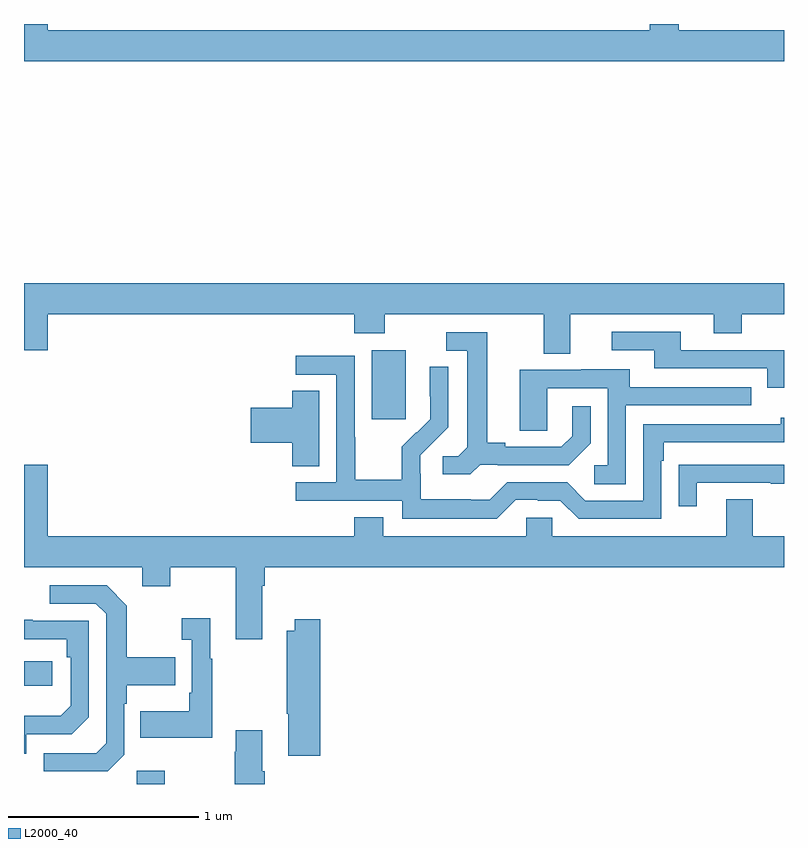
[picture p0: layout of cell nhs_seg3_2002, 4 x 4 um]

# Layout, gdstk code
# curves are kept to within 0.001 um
import gdstk
lib = gdstk.Library(unit=1e-6, precision=1e-09)
def R(c, l, rs):  # rectangles x0, y0, x1, y1
    for r in rs: c.add(gdstk.rectangle(r[:2], r[2:], *l))
def P(c, l, *ps):  # polygons
    for p in ps: c.add(gdstk.Polygon(p, *l))
L2000_40 = (2000, 40)

nhs_seg3_2002 = lib.new_cell('nhs_seg3_2002')
R(nhs_seg3_2002, L2000_40, [(213.594,742.4,213.741,742.471), (213,742.916,213.148,743.046), (214.829,744.321,215.008,744.682)])
P(nhs_seg3_2002, L2000_40, [(217,746.368),(216.445,746.368),(216.445,746.4),(216.293,746.4),(216.293,746.368),(213.124,746.368),(213.124,746.4),(213,746.4),(213,746.204),(217,746.204)],
  [(215.875,744.872),(216.629,744.872),(216.629,744.773),(216.777,744.773),(216.777,744.872),(217,744.872),(217,745.036),(213,745.036),(213,744.684),(213.124,744.684),(213.124,744.872),(214.739,744.872),(214.739,744.773),(214.899,744.773),(214.899,744.872),(215.735,744.872),(215.735,744.664),(215.875,744.664)],
  [(217,744.684),(216.457,744.684),(216.457,744.78),(216.093,744.78),(216.093,744.684),(216.317,744.684),(216.317,744.588),(216.912,744.588),(216.912,744.485),(217,744.485)],
  [(215.4,744.081),(215.494,744.081),(215.494,744.078),(215.866,744.078),(215.982,744.194),(215.982,744.388),(215.885,744.388),(215.885,744.231),(215.828,744.174),(215.533,744.174),(215.533,744.197),(215.437,744.197),(215.437,744.777),(215.223,744.777),(215.223,744.681),(215.333,744.681),(215.333,744.173),(215.286,744.126),(215.205,744.126),(215.205,744.029),(215.348,744.029)],
  [(215.589,743.895),(215.705,743.895),(215.705,743.892),(215.823,743.892),(215.919,743.796),(216.354,743.796),(216.354,744.101),(216.367,744.101),(216.367,744.198),(217,744.198),(217,744.328),(216.983,744.328),(216.983,744.294),(216.258,744.294),(216.258,743.892),(215.955,743.892),(215.859,743.988),(215.544,743.988),(215.451,743.895),(215.351,743.895),(215.351,743.899),(215.088,743.899),(215.088,744.033),(215.086,744.033),(215.086,744.13),(215.232,744.278),(215.232,744.596),(215.136,744.596),(215.136,744.442),(215.138,744.442),(215.138,744.32),(215.067,744.249),(215.064,744.252),(214.987,744.175),(214.987,744.001),(214.743,744.001),(214.743,744.224),(214.74,744.224),(214.74,744.654),(214.431,744.654),(214.431,744.555),(214.644,744.555),(214.644,743.988),(214.431,743.988),(214.431,743.892),(214.992,743.892),(214.992,743.795),(215.489,743.795)],
  [(216.168,744.393),(216.827,744.393),(216.827,744.489),(216.187,744.489),(216.187,744.583),(215.933,744.583),(215.933,744.579),(215.609,744.579),(215.609,744.259),(215.754,744.259),(215.754,744.483),(216.072,744.483),(216.072,744.078),(216,744.078),(216,743.977),(216.168,743.977)],
  [(214.555,744.47),(214.412,744.47),(214.412,744.38),(214.194,744.38),(214.194,744.197),(214.412,744.197),(214.412,744.073),(214.555,744.073)],
  [(216.541,743.985),(216.931,743.985),(216.931,743.98),(217,743.98),(217,744.081),(216.547,744.081),(216.547,744.08),(216.445,744.08),(216.445,743.862),(216.541,743.862)],
  [(214.255,743.444),(214.268,743.444),(214.268,743.54),(217,743.54),(217,743.704),(216.835,743.704),(216.835,743.899),(216.695,743.899),(216.695,743.704),(215.781,743.704),(215.781,743.802),(215.643,743.802),(215.643,743.704),(214.891,743.704),(214.891,743.803),(214.739,743.803),(214.739,743.704),(213.124,743.704),(213.124,744.079),(213,744.079),(213,743.54),(213.623,743.54),(213.623,743.441),(213.771,743.441),(213.771,743.54),(214.115,743.54),(214.115,743.163),(214.255,743.163)],
  [(213.528,742.554),(213.528,742.823),(213.541,742.823),(213.541,742.919),(213.797,742.919),(213.797,743.067),(213.541,743.067),(213.541,743.339),(213.435,743.445),(213.135,743.445),(213.135,743.349),(213.378,743.349),(213.432,743.295),(213.432,742.614),(213.381,742.563),(213.105,742.563),(213.105,742.467),(213.441,742.467)],
  [(213.991,743.059),(213.979,743.059),(213.979,743.272),(213.831,743.272),(213.831,743.159),(213.882,743.159),(213.882,742.879),(213.87,742.879),(213.87,742.783),(213.613,742.783),(213.613,742.643),(213.991,742.643)],
  [(214.559,743.266),(214.424,743.266),(214.424,743.206),(214.384,743.206),(214.384,742.771),(214.391,742.771),(214.391,742.548),(214.559,742.548)],
  [(213.012,742.662),(213.252,742.662),(213.342,742.752),(213.342,743.259),(213.047,743.259),(213.047,743.264),(213,743.264),(213,743.163),(213.226,743.163),(213.226,743.066),(213.246,743.066),(213.246,742.812),(213.193,742.759),(213,742.759),(213,742.56),(213.012,742.56)],
  [(214.268,742.468),(214.255,742.468),(214.255,742.684),(214.115,742.684),(214.115,742.571),(214.108,742.571),(214.108,742.4),(214.268,742.4)])

lib.write_gds('nhs_seg3_2002.gds')
